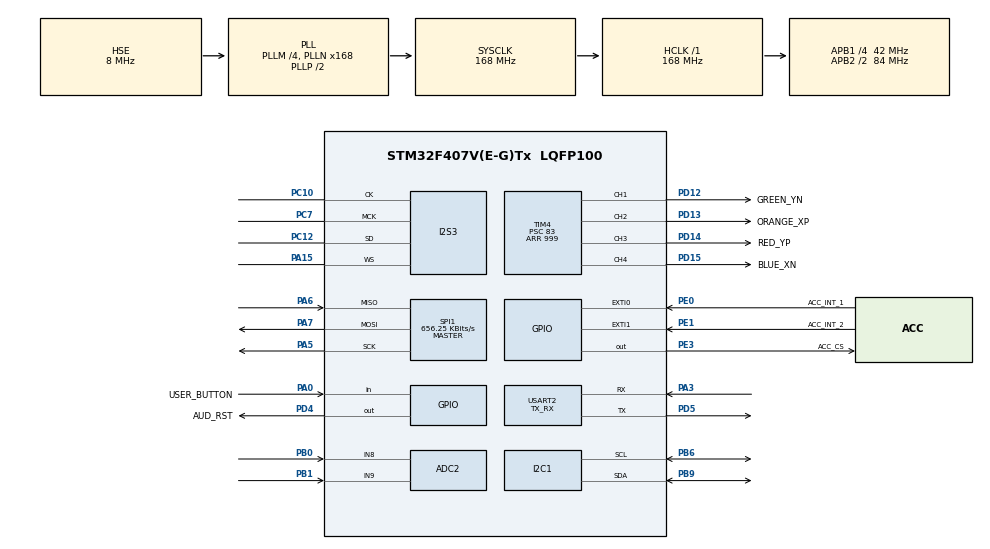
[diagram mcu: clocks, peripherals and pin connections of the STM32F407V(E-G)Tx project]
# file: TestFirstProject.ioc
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ADC2.Channel-0\#ChannelRegularConversion=ADC_CHANNEL_8
ADC2.Channel-1\#ChannelRegularConversion=ADC_CHANNEL_9
ADC2.DMAContinuousRequests=ENABLE
ADC2.NbrOfConversion=2
ADC2.NbrOfConversionFlag=1
ADC2.Rank-0\#ChannelRegularConversion=1
ADC2.Rank-1\#ChannelRegularConversion=2
ADC2.SamplingTime-0\#ChannelRegularConversion=ADC_SAMPLETIME_112CYCLES
ADC2.SamplingTime-1\#ChannelRegularConversion=ADC_SAMPLETIME_112CYCLES
ADC2.ScanConvMode=ENABLE
Dma.ADC2.0.Direction=DMA_PERIPH_TO_MEMORY
Dma.ADC2.0.FIFOMode=DMA_FIFOMODE_DISABLE
Dma.ADC2.0.Instance=DMA2_Stream2
Dma.ADC2.0.MemDataAlignment=DMA_MDATAALIGN_HALFWORD
Dma.ADC2.0.MemInc=DMA_MINC_ENABLE
Dma.ADC2.0.Mode=DMA_NORMAL
Dma.ADC2.0.PeriphDataAlignment=DMA_PDATAALIGN_HALFWORD
Dma.ADC2.0.PeriphInc=DMA_PINC_DISABLE
Dma.ADC2.0.Priority=DMA_PRIORITY_LOW
Dma.Request0=ADC2
I2S3.ErrorAudioFreq=-0.27 %
I2S3.FullDuplexMode=I2S_FULLDUPLEXMODE_DISABLE
I2S3.Instance=SPI$Index
I2S3.RealAudioFreq=7.978 KHz
I2S3.VirtualMode=I2S_MODE_MASTER
Mcu.Family=STM32F4
Mcu.Name=STM32F407V(E-G)Tx
Mcu.Package=LQFP100
NVIC.DMA2_Stream2_IRQn=true\:0\:0\:false\:false\:true\:false\:true
NVIC.PriorityGroup=NVIC_PRIORITYGROUP_4
NVIC.TIM8_TRG_COM_TIM14_IRQn=true\:0\:0\:false\:false\:true\:true\:true
NVIC.USART2_IRQn=true\:0\:0\:false\:false\:true\:true\:true
PA0-WKUP.GPIO_Label=USER_BUTTON
PA0-WKUP.Signal=GPIO_Input
PA13.Mode=Serial_Wire
PA13.Signal=SYS_JTMS-SWDIO
PA14.Mode=Serial_Wire
PA14.Signal=SYS_JTCK-SWCLK
PA15.Mode=Half_Duplex_Master
PA15.Signal=I2S3_WS
PA3.Mode=Asynchronous
PA3.Signal=USART2_RX
PA5.Mode=Full_Duplex_Master
PA5.Signal=SPI1_SCK
PA6.Mode=Full_Duplex_Master
PA6.Signal=SPI1_MISO
PA7.Mode=Full_Duplex_Master
PA7.Signal=SPI1_MOSI
PB0.Signal=ADCx_IN8
PB1.Signal=ADCx_IN9
PB10.Signal=I2S2_CK
PB6.Mode=I2C
PB6.Signal=I2C1_SCL
PB9.Mode=I2C
PB9.Signal=I2C1_SDA
PC10.Mode=Half_Duplex_Master
PC10.Signal=I2S3_CK
PC12.Mode=Half_Duplex_Master
PC12.Signal=I2S3_SD
PC14-OSC32_IN.Mode=LSE-External-Oscillator
PC14-OSC32_IN.Signal=RCC_OSC32_IN
PC15-OSC32_OUT.Mode=LSE-External-Oscillator
PC15-OSC32_OUT.Signal=RCC_OSC32_OUT
PC3.Signal=I2S2_SD
PC7.Mode=Master_Clock_Activated
PC7.Signal=I2S3_MCK
PD12.GPIO_Label=GREEN_YN
PD12.Signal=S_TIM4_CH1
PD13.GPIO_Label=ORANGE_XP
PD13.Signal=S_TIM4_CH2
PD14.GPIO_Label=RED_YP
PD14.Signal=S_TIM4_CH3
PD15.GPIO_Label=BLUE_XN
PD15.Signal=S_TIM4_CH4
PD4.GPIO_Label=AUD_RST
PD4.PinState=GPIO_PIN_SET
PD4.Signal=GPIO_Output
PD5.Mode=Asynchronous
PD5.Signal=USART2_TX
PE0.GPIO_Label=ACC_INT_1
PE0.Signal=GPXTI0
PE1.GPIO_Label=ACC_INT_2
PE1.Signal=GPXTI1
PE3.GPIO_Label=ACC_CS
PE3.Signal=GPIO_Output
PH0-OSC_IN.Mode=HSE-External-Oscillator
PH0-OSC_IN.Signal=RCC_OSC_IN
PH1-OSC_OUT.Mode=HSE-External-Oscillator
PH1-OSC_OUT.Signal=RCC_OSC_OUT
ProjectManager.HeapSize=0x00
ProjectManager.StackSize=0x400
ProjectManager.TargetToolchain=STM32CubeIDE
RCC.48MHZClocksFreq_Value=84000000
RCC.AHBFreq_Value=168000000
RCC.APB1CLKDivider=RCC_HCLK_DIV4
RCC.APB1Freq_Value=42000000
RCC.APB1TimFreq_Value=84000000
RCC.APB2CLKDivider=RCC_HCLK_DIV2
RCC.APB2Freq_Value=84000000
RCC.APB2TimFreq_Value=168000000
RCC.CortexFreq_Value=168000000
RCC.HCLKFreq_Value=168000000
RCC.HSE_VALUE=8000000
RCC.HSI_VALUE=16000000
RCC.PLLM=4
RCC.PLLN=168
RCC.PLLSourceVirtual=RCC_PLLSOURCE_HSE
RCC.RCC_RTC_Clock_Source=RCC_RTCCLKSOURCE_LSE
RCC.RCC_RTC_Clock_SourceVirtual=RCC_RTCCLKSOURCE_LSE
RCC.SYSCLKFreq_VALUE=168000000
RCC.SYSCLKSource=RCC_SYSCLKSOURCE_PLLCLK
RCC.VCOOutputFreq_Value=336000000
SH.ADCx_IN8.0=ADC2_IN8,IN8
SH.ADCx_IN9.0=ADC2_IN9,IN9
SH.S_TIM4_CH1.0=TIM4_CH1,PWM Generation1 CH1
SH.S_TIM4_CH2.0=TIM4_CH2,PWM Generation2 CH2
SH.S_TIM4_CH3.0=TIM4_CH3,PWM Generation3 CH3
SH.S_TIM4_CH4.0=TIM4_CH4,PWM Generation4 CH4
SPI1.BaudRatePrescaler=SPI_BAUDRATEPRESCALER_128
SPI1.CalculateBaudRate=656.25 KBits/s
SPI1.Direction=SPI_DIRECTION_2LINES
SPI1.Mode=SPI_MODE_MASTER
SPI1.VirtualType=VM_MASTER
TIM14.AutoReloadPreload=TIM_AUTORELOAD_PRELOAD_ENABLE
TIM14.Period=999
TIM14.Prescaler=83
TIM4.AutoReloadPreload=TIM_AUTORELOAD_PRELOAD_ENABLE
TIM4.Channel-PWM\ Generation1\ CH1=TIM_CHANNEL_1
TIM4.Channel-PWM\ Generation2\ CH2=TIM_CHANNEL_2
TIM4.Channel-PWM\ Generation3\ CH3=TIM_CHANNEL_3
TIM4.Channel-PWM\ Generation4\ CH4=TIM_CHANNEL_4
TIM4.Period=999
TIM4.Prescaler=83
TIM4.Pulse-PWM\ Generation1\ CH1=100
TIM4.Pulse-PWM\ Generation2\ CH2=300
TIM4.Pulse-PWM\ Generation3\ CH3=600
TIM4.Pulse-PWM\ Generation4\ CH4=900
USART2.Mode=MODE_TX_RX
USART2.OverSampling=UART_OVERSAMPLING_8
USART2.VirtualMode=VM_ASYNC
VP_TIM14_VS_ClockSourceINT.Mode=Enable_Timer
board=custom

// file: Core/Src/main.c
/* USER CODE BEGIN Header */
/**
  ******************************************************************************
  * @file           : main.c
  * @brief          : Main program body
  ******************************************************************************
  * @attention
  *
  * <h2><center>&copy; Copyright (c) 2020 STMicroelectronics.
  * All rights reserved.</center></h2>
  *
  * This software component is licensed by ST under BSD 3-Clause license,
  * the "License"; You may not use this file except in compliance with the
  * License. You may obtain a copy of the License at:
  *                        opensource.org/licenses/BSD-3-Clause
  *
  ******************************************************************************
  */
/* USER CODE END Header */

#include "main.h"
#include "adc.h"
#include "dma.h"
#include "i2c.h"
#include "i2s.h"
#include "spi.h"
#include "tim.h"
#include "usart.h"
#include "gpio.h"

/* USER CODE BEGIN Includes */
#include "LIS3DSH.h"
/* USER CODE END Includes */

void SystemClock_Config(void);

/* USER CODE BEGIN 0 */

struct
{
    uint16_t axisRawData[2];
    double axisScaledData[2];
}joystick;

/* USER CODE END 0 */

int main(void)
{

  /* MCU Configuration--------------------------------------------------------*/

  /* Reset of all peripherals, Initializes the Flash interface and the Systick. */
  HAL_Init();

  /* Configure the system clock */
  SystemClock_Config();

  /* Initialize all configured peripherals */
  MX_GPIO_Init();
  MX_DMA_Init();
  MX_I2C1_Init();
  MX_I2S3_Init();
  MX_SPI1_Init();
  MX_TIM14_Init();
  MX_USART2_UART_Init();
  MX_ADC2_Init();
  MX_TIM4_Init();
  /* USER CODE BEGIN 2 */
  HAL_TIM_PWM_Start ( &htim4, TIM_CHANNEL_1 );
  HAL_TIM_PWM_Start ( &htim4, TIM_CHANNEL_2 );
  HAL_TIM_PWM_Start ( &htim4, TIM_CHANNEL_3 );
  HAL_TIM_PWM_Start ( &htim4, TIM_CHANNEL_4 );
  /* USER CODE END 2 */

  /* Infinite loop */
  /* USER CODE BEGIN WHILE */
  while (1)
  {
      HAL_ADC_Start_DMA ( &hadc2, (uint32_t*)joystick.axisRawData, 2 );

      joystick.axisScaledData[0] = joystick.axisRawData[0];
      joystick.axisScaledData[1] = joystick.axisRawData[1];

      joystick.axisScaledData[0] = ( joystick.axisScaledData[0] - 2048 ) * ( 100.0/2048.0 );
      joystick.axisScaledData[1] = ( joystick.axisScaledData[1] - 2048 ) * ( 100.0/2048.0 );

      // X Axis
      if ( joystick.axisScaledData[0] > 0 )
      {
          // Positive
          __HAL_TIM_SET_COMPARE ( &htim4, TIM_CHANNEL_2, (joystick.axisScaledData[0]*10)-1);
          __HAL_TIM_SET_COMPARE ( &htim4, TIM_CHANNEL_4, 0);
      }
      else
      {
          // Negative
          __HAL_TIM_SET_COMPARE ( &htim4, TIM_CHANNEL_2, 0);
          __HAL_TIM_SET_COMPARE ( &htim4, TIM_CHANNEL_4, (-joystick.axisScaledData[0]*10)-1);
      }

      // Y Axis
      if ( joystick.axisScaledData[1] > 0 )
      {
          // Positive
          __HAL_TIM_SET_COMPARE ( &htim4, TIM_CHANNEL_3, (joystick.axisScaledData[1]*10)-1);
          __HAL_TIM_SET_COMPARE ( &htim4, TIM_CHANNEL_1, 0);
      }
      else
      {
          // Negative
          __HAL_TIM_SET_COMPARE ( &htim4, TIM_CHANNEL_3, 0);
          __HAL_TIM_SET_COMPARE ( &htim4, TIM_CHANNEL_1, (-joystick.axisScaledData[1]*10)-1);
      }

      HAL_Delay ( 10 );
    /* USER CODE END WHILE */

  }
}

void SystemClock_Config(void)
{
  RCC_OscInitTypeDef RCC_OscInitStruct = {0};
  RCC_ClkInitTypeDef RCC_ClkInitStruct = {0};
  RCC_PeriphCLKInitTypeDef PeriphClkInitStruct = {0};

  /** Configure the main internal regulator output voltage
  */
  __HAL_RCC_PWR_CLK_ENABLE();
  __HAL_PWR_VOLTAGESCALING_CONFIG(PWR_REGULATOR_VOLTAGE_SCALE1);
  /** Initializes the CPU, AHB and APB busses clocks
  */
  RCC_OscInitStruct.OscillatorType = RCC_OSCILLATORTYPE_HSE;
  RCC_OscInitStruct.HSEState = RCC_HSE_ON;
  RCC_OscInitStruct.PLL.PLLState = RCC_PLL_ON;
  RCC_OscInitStruct.PLL.PLLSource = RCC_PLLSOURCE_HSE;
  RCC_OscInitStruct.PLL.PLLM = 4;
  RCC_OscInitStruct.PLL.PLLN = 168;
  RCC_OscInitStruct.PLL.PLLP = RCC_PLLP_DIV2;
  RCC_OscInitStruct.PLL.PLLQ = 4;
  if (HAL_RCC_OscConfig(&RCC_OscInitStruct) != HAL_OK)
  {
    Error_Handler();
  }
  /** Initializes the CPU, AHB and APB busses clocks
  */
  RCC_ClkInitStruct.ClockType = RCC_CLOCKTYPE_HCLK|RCC_CLOCKTYPE_SYSCLK
                              |RCC_CLOCKTYPE_PCLK1|RCC_CLOCKTYPE_PCLK2;
  RCC_ClkInitStruct.SYSCLKSource = RCC_SYSCLKSOURCE_PLLCLK;
  RCC_ClkInitStruct.AHBCLKDivider = RCC_SYSCLK_DIV1;
  RCC_ClkInitStruct.APB1CLKDivider = RCC_HCLK_DIV4;
  RCC_ClkInitStruct.APB2CLKDivider = RCC_HCLK_DIV2;

  if (HAL_RCC_ClockConfig(&RCC_ClkInitStruct, FLASH_LATENCY_5) != HAL_OK)
  {
    Error_Handler();
  }
  PeriphClkInitStruct.PeriphClockSelection = RCC_PERIPHCLK_I2S;
  PeriphClkInitStruct.PLLI2S.PLLI2SN = 192;
  PeriphClkInitStruct.PLLI2S.PLLI2SR = 2;
  if (HAL_RCCEx_PeriphCLKConfig(&PeriphClkInitStruct) != HAL_OK)
  {
    Error_Handler();
  }
}

void Error_Handler(void)
{
}

/************************ (C) COPYRIGHT STMicroelectronics *****END OF FILE****/
